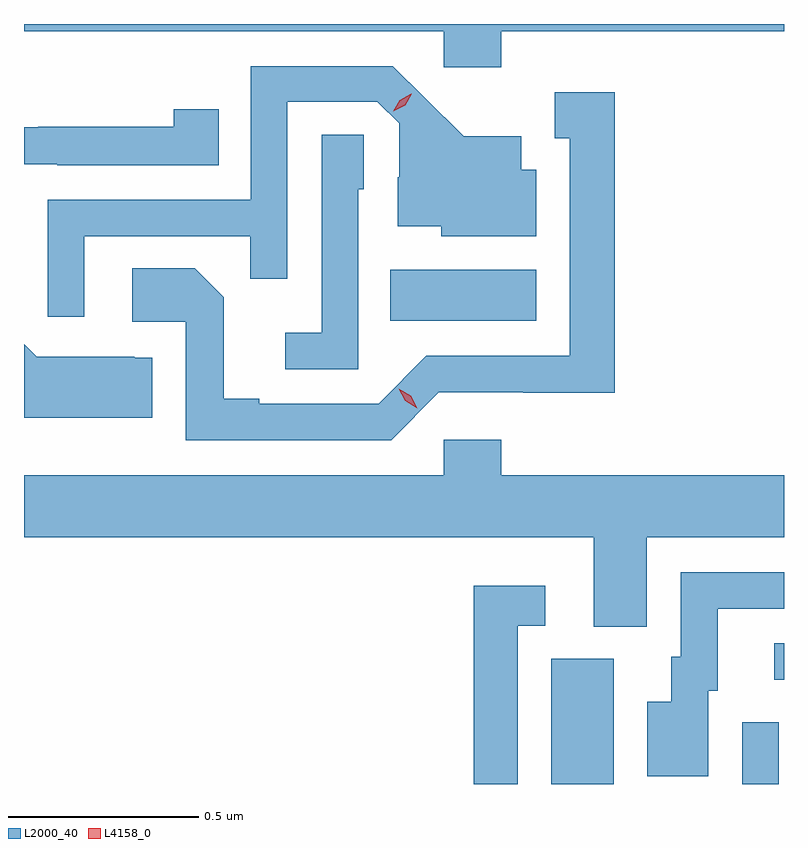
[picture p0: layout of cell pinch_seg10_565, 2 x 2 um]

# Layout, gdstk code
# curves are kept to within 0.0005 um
import gdstk
lib = gdstk.Library(unit=1e-6, precision=1e-09)
def R(c, l, rs):  # rectangles x0, y0, x1, y1
    for r in rs: c.add(gdstk.rectangle(r[:2], r[2:], *l))
def P(c, l, *ps):  # polygons
    for p in ps: c.add(gdstk.Polygon(p, *l))
L2000_40 = (2000, 40)
L4158_0 = (4158, 0)

pinch_seg10_565 = lib.new_cell('pinch_seg10_565')
R(pinch_seg10_565, L2000_40, [(223.04,1271.695,223.204,1272.024), (223.542,1271.695,223.638,1271.857), (223.626,1271.97,223.652,1272.066), (222.616,1272.914,223,1273.048)])
P(pinch_seg10_565, L2000_40, [(222.908,1273.676),(223.652,1273.676),(223.652,1273.695),(221.652,1273.695),(221.652,1273.676),(222.756,1273.676),(222.756,1273.581),(222.908,1273.581)],
  [(221.811,1273.137),(222.247,1273.137),(222.247,1273.024),(222.345,1273.024),(222.345,1273.491),(222.582,1273.491),(222.639,1273.434),(222.639,1273.292),(222.635,1273.292),(222.635,1273.163),(222.75,1273.163),(222.75,1273.136),(223,1273.136),(223,1273.312),(222.961,1273.312),(222.961,1273.399),(222.809,1273.399),(222.622,1273.584),(222.249,1273.584),(222.249,1273.233),(221.715,1273.233),(221.715,1272.924),(221.811,1272.924)],
  [(222.744,1272.726),(222.966,1272.726),(222.966,1272.725),(223.207,1272.725),(223.207,1273.516),(223.049,1273.516),(223.049,1273.395),(223.088,1273.395),(223.088,1272.822),(222.711,1272.822),(222.585,1272.696),(222.271,1272.696),(222.271,1272.709),(222.177,1272.709),(222.177,1272.976),(222.101,1273.052),(221.937,1273.052),(221.937,1272.912),(222.078,1272.912),(222.078,1272.6),(222.618,1272.6)],
  [(222.164,1273.471),(222.046,1273.471),(222.046,1273.424),(221.689,1273.424),(221.689,1273.423),(221.652,1273.423),(221.652,1273.326),(221.74,1273.326),(221.74,1273.323),(222.164,1273.323)],
  [(222.531,1273.26),(222.546,1273.26),(222.546,1273.403),(222.435,1273.403),(222.435,1272.883),(222.339,1272.883),(222.339,1272.786),(222.531,1272.786)],
  [(221.989,1272.817),(221.945,1272.817),(221.942,1272.82),(221.808,1272.82),(221.808,1272.819),(221.685,1272.819),(221.652,1272.852),(221.652,1272.659),(221.989,1272.659)],
  [(223.291,1272.344),(223.652,1272.344),(223.652,1272.508),(222.908,1272.508),(222.908,1272.601),(222.756,1272.601),(222.756,1272.508),(221.652,1272.508),(221.652,1272.344),(223.151,1272.344),(223.151,1272.109),(223.291,1272.109)],
  [(223.453,1271.94),(223.477,1271.94),(223.477,1272.156),(223.652,1272.156),(223.652,1272.252),(223.38,1272.252),(223.38,1272.03),(223.355,1272.03),(223.355,1271.911),(223.292,1271.911),(223.292,1271.715),(223.453,1271.715)],
  [(222.951,1272.111),(223.024,1272.111),(223.024,1272.217),(222.835,1272.217),(222.835,1271.695),(222.951,1271.695)])
P(pinch_seg10_565, L4158_0, [(222.687,1272.684),(222.655,1272.703),(222.638,1272.735),(222.638,1272.735),(222.638,1272.735),(222.67,1272.717),(222.687,1272.684),(222.687,1272.684)],
  [(222.624,1273.465),(222.624,1273.465),(222.641,1273.495),(222.671,1273.511),(222.672,1273.511),(222.672,1273.511),(222.655,1273.481),(222.624,1273.465)])

lib.write_gds('pinch_seg10_565.gds')
